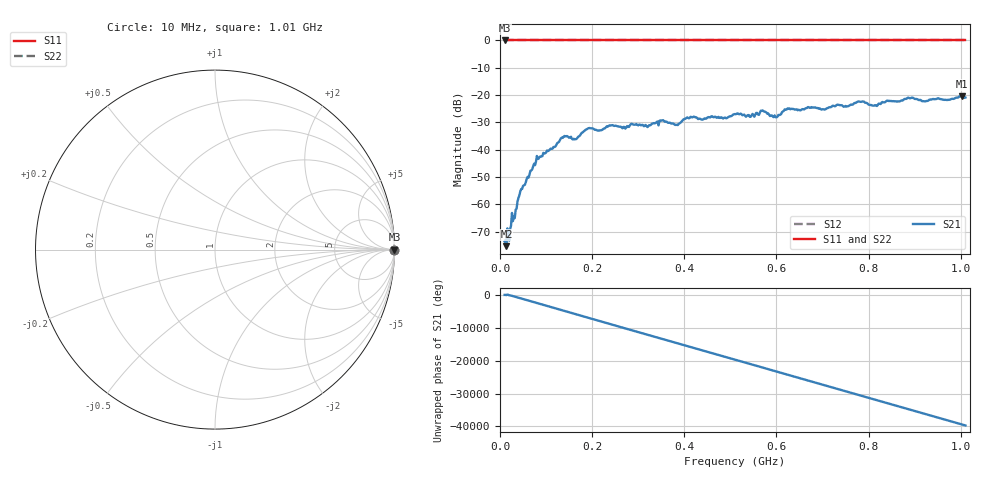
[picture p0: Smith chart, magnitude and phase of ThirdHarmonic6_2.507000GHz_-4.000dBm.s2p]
! 8/17/2025 4:50:44 AM
! C:\ANRITSUVNA\TEMP\TEMP.S2P
! CHANNEL.1
! TR.MEASUREMENT
! RAW.DATA
! RF.CORRECTION.OFF
! AVERAGING.OFF
! IF.BANDWIDTH: 5KHZ
! SWEEPTYPE:  FREQ.SWEEP(Linear)
! Reference Plane Port Info
! PORT:  PORT1  PORT2
! DISTANCE:  0  m  0  m
! TIME:  0  s  0  s
! PHASE.OFFSET:  0  deg.  0  deg.
! LOSS:  0  dB  0  dB
! REF.LOSS:  0  dB  0  dB
! REF.FREQ:  0  Hz  0  Hz
! Power Info
! POWER:  -20  dBm  -20  dBm
! EFF.POWER:  -20  dBm  -20  dBm
! SOURCE.ATTEN:  0  dB  0  dB
! TEST.ATTEN:  0  dB  0  dB
# GHZ S RI R 50.0
! FREQ.GHZ  S11RE  S11IM  S21RE  S21IM  S12RE  S12IM  S22RE  S22IM
!; PortSelection: Port_12
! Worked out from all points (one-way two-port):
!   501 points, 10 MHz to 1.01 GHz, reference 50 ohm
!   highest |S21| = -20.37 dB at 1.002 GHz (marker M1); lowest = -75.3 dB at 14 MHz (marker M2)
!   lowest |S11| = 0.0 dB at 10 MHz (marker M3)
!   |S11| at or under -10 dB: nowhere
!   |S22| runs from 0.0 to 0.0 dB; largest |S21 - S12| = 1.1
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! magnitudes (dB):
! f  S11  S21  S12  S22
! 10 MHz  0.0  -73.6  0.0  0.0
! 14 MHz  0.0  -75.3  0.0  0.0
! 18 MHz  0.0  -71.4  0.0  0.0
! 46 MHz  0.0  -54.4  0.0  0.0
! 82 MHz  0.0  -43.4  0.0  0.0
! 136 MHz  0.0  -35.7  0.0  0.0
! 162 MHz  0.0  -36.2  0.0  0.0
! 178 MHz  0.0  -33.8  0.0  0.0
! 194 MHz  0.0  -32.1  0.0  0.0
! 344 MHz  0.0  -31.1  0.0  0.0
! 384 MHz  0.0  -30.9  0.0  0.0
! 410 MHz  0.0  -28.5  0.0  0.0
! 510 MHz  0.0  -26.9  0.0  0.0
! 570 MHz  0.0  -25.6  0.0  0.0
! 598 MHz  0.0  -28.1  0.0  0.0
! 622 MHz  0.0  -25.3  0.0  0.0
! 678 MHz  0.0  -24.6  0.0  0.0
! 782 MHz  0.0  -22.5  0.0  0.0
! 814 MHz  0.0  -23.7  0.0  0.0
! 844 MHz  0.0  -22.2  0.0  0.0
! 1.002 GHz  0.0  -20.4  0.0  0.0
! 1.01 GHz  0.0  -20.9  0.0  0.0
